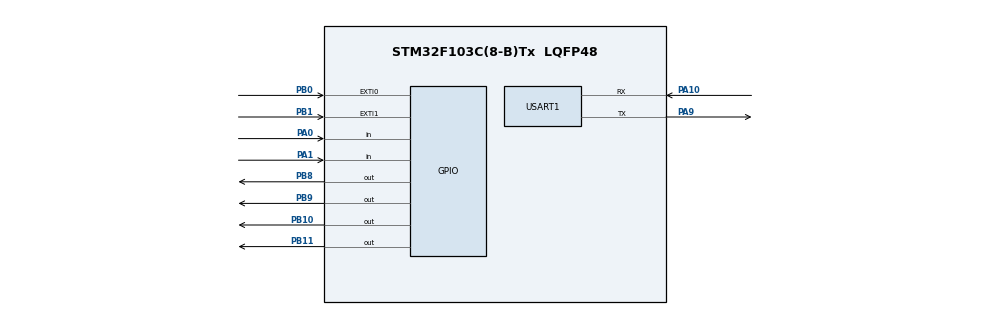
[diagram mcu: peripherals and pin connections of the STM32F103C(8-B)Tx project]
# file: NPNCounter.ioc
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FREERTOS.Tasks01=defaultTask,0,128,StartDefaultTask,Default,NULL,Static,defaultTaskBuffer,defaultTaskControlBlock;seg_display,0,128,StartSegDisplay,Default,NULL,Static,seg_displayBuffer,seg_displayControlBlock;counter_task,-3,128,StartCounterTask,Default,NULL,Static,counter_taskBuffer,counter_taskControlBlock;button_task,3,128,StartButtonTask,Default,NULL,Static,button_taskBuffer,button_taskControlBlock;cmd_line,-3,128,StartCmdLine,Default,NULL,Static,cmd_lineBuffer,cmd_lineControlBlock
Mcu.Family=STM32F1
Mcu.Name=STM32F103C(8-B)Tx
Mcu.Package=LQFP48
NVIC.EXTI0_IRQn=true\:5\:0\:false\:true\:true\:4\:true\:true\:true\:true
NVIC.EXTI1_IRQn=true\:5\:0\:false\:true\:true\:3\:true\:true\:true\:true
NVIC.PriorityGroup=NVIC_PRIORITYGROUP_4
NVIC.TIM1_UP_IRQn=true\:5\:0\:false\:true\:true\:2\:true\:true\:true\:true
NVIC.USART1_IRQn=true\:5\:0\:true\:true\:true\:1\:true\:true\:true\:true
PA0-WKUP.GPIO_PuPd=GPIO_PULLUP
PA0-WKUP.Signal=GPIO_Input
PA1.GPIO_PuPd=GPIO_PULLUP
PA1.Signal=GPIO_Input
PA10.Mode=Asynchronous
PA10.Signal=USART1_RX
PA13.Mode=Serial_Wire
PA13.Signal=SYS_JTMS-SWDIO
PA14.Mode=Serial_Wire
PA14.Signal=SYS_JTCK-SWCLK
PA9.Mode=Asynchronous
PA9.Signal=USART1_TX
PB0.GPIO_PuPd=GPIO_PULLUP
PB0.Signal=GPXTI0
PB1.GPIO_PuPd=GPIO_PULLUP
PB1.Signal=GPXTI1
PB10.GPIO_PuPd=GPIO_PULLUP
PB10.Signal=GPIO_Output
PB11.GPIO_PuPd=GPIO_PULLUP
PB11.Signal=GPIO_Output
PB8.Signal=GPIO_Output
PB9.Signal=GPIO_Output
ProjectManager.HeapSize=0x200
ProjectManager.StackSize=0x400
ProjectManager.TargetToolchain=MDK-ARM V5.32
RCC.APB1Freq_Value=8000000
RCC.APB2Freq_Value=8000000
TIM1.AutoReloadPreload=TIM_AUTORELOAD_PRELOAD_ENABLE
TIM1.Period=1000
TIM1.Prescaler=8000
USART1.VirtualMode=VM_ASYNC
VP_FREERTOS_VS_CMSIS_V1.Mode=CMSIS_V1
VP_TIM1_VS_ClockSourceINT.Mode=Internal
board=custom

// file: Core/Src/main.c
/* USER CODE BEGIN Header */
/**
 ******************************************************************************
 * @file           : main.c
 * @brief          : Main program body
 ******************************************************************************
 * @attention
 *
 * Copyright (c) 2024 STMicroelectronics.
 * All rights reserved.
 *
 * This software is licensed under terms that can be found in the LICENSE file
 * in the root directory of this software component.
 * If no LICENSE file comes with this software, it is provided AS-IS.
 *
 ******************************************************************************
 */
/* USER CODE END Header */
#include "main.h"
#include "cmsis_os.h"
#include "gpio.h"
#include "tim.h"
#include "usart.h"

/* USER CODE BEGIN Includes */
#include <stdio.h>
/* USER CODE END Includes */

void        SystemClock_Config(void);
void        MX_FREERTOS_Init(void);
static void MX_NVIC_Init(void);

/* USER CODE BEGIN 0 */
int fputc(int ch, FILE* f)
{
    HAL_UART_Transmit(&huart1, (uint8_t*)&ch, 1, 0xFFFF);
    return (ch);
}
int fgetc(FILE* f)
{
    int ch;
    while (__HAL_UART_GET_FLAG(&huart1, UART_FLAG_RXNE) == RESET)
        ;
    HAL_UART_Receive(&huart1, (uint8_t*)&ch, 1, 0xFFFF);
    return (ch);
}
/* USER CODE END 0 */

int main(void)
{

    /* USER CODE BEGIN 1 */
    unsigned char hal_uart1_rx;
    /* USER CODE END 1 */

    /* MCU Configuration--------------------------------------------------------*/

    /* Reset of all peripherals, Initializes the Flash interface and the Systick. */
    HAL_Init();

    /* Configure the system clock */
    SystemClock_Config();

    /* Initialize all configured peripherals */
    MX_GPIO_Init();
    MX_USART1_UART_Init();
    MX_TIM1_Init();

    /* Initialize interrupts */
    MX_NVIC_Init();
    /* USER CODE BEGIN 2 */
    // dbg_cmd_init(1);
    HAL_TIM_Base_Start_IT(&htim1);
    printf("task start...\n");
    /* USER CODE END 2 */

    /* Call init function for freertos objects (in cmsis_os2.c) */
    MX_FREERTOS_Init();

    /* Start scheduler */
    osKernelStart();

    /* We should never get here as control is now taken by the scheduler */

    /* Infinite loop */
    while (1)
    {

    }
}

void SystemClock_Config(void)
{
    RCC_OscInitTypeDef RCC_OscInitStruct = { 0 };
    RCC_ClkInitTypeDef RCC_ClkInitStruct = { 0 };

    /** Initializes the RCC Oscillators according to the specified parameters
     * in the RCC_OscInitTypeDef structure.
     */
    RCC_OscInitStruct.OscillatorType      = RCC_OSCILLATORTYPE_HSI;
    RCC_OscInitStruct.HSIState            = RCC_HSI_ON;
    RCC_OscInitStruct.HSICalibrationValue = RCC_HSICALIBRATION_DEFAULT;
    RCC_OscInitStruct.PLL.PLLState        = RCC_PLL_NONE;
    if (HAL_RCC_OscConfig(&RCC_OscInitStruct) != HAL_OK)
    {
        Error_Handler();
    }

    /** Initializes the CPU, AHB and APB buses clocks
     */
    RCC_ClkInitStruct.ClockType      = RCC_CLOCKTYPE_HCLK | RCC_CLOCKTYPE_SYSCLK | RCC_CLOCKTYPE_PCLK1 | RCC_CLOCKTYPE_PCLK2;
    RCC_ClkInitStruct.SYSCLKSource   = RCC_SYSCLKSOURCE_HSI;
    RCC_ClkInitStruct.AHBCLKDivider  = RCC_SYSCLK_DIV1;
    RCC_ClkInitStruct.APB1CLKDivider = RCC_HCLK_DIV1;
    RCC_ClkInitStruct.APB2CLKDivider = RCC_HCLK_DIV1;

    if (HAL_RCC_ClockConfig(&RCC_ClkInitStruct, FLASH_LATENCY_0) != HAL_OK)
    {
        Error_Handler();
    }
}

/**
 * @brief NVIC Configuration.
 * @retval None
 */
static void MX_NVIC_Init(void)
{
    /* USART1_IRQn interrupt configuration */
    HAL_NVIC_SetPriority(USART1_IRQn, 5, 0);
    HAL_NVIC_EnableIRQ(USART1_IRQn);
    /* TIM1_UP_IRQn interrupt configuration */
    HAL_NVIC_SetPriority(TIM1_UP_IRQn, 5, 0);
    HAL_NVIC_EnableIRQ(TIM1_UP_IRQn);
    /* EXTI1_IRQn interrupt configuration */
    HAL_NVIC_SetPriority(EXTI1_IRQn, 5, 0);
    HAL_NVIC_EnableIRQ(EXTI1_IRQn);
    /* EXTI0_IRQn interrupt configuration */
    HAL_NVIC_SetPriority(EXTI0_IRQn, 5, 0);
    HAL_NVIC_EnableIRQ(EXTI0_IRQn);
}

void Error_Handler(void)
{
    __disable_irq();
    while (1)
    {
    }
}

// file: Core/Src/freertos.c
/* USER CODE BEGIN Header */
/**
 ******************************************************************************
 * File Name          : freertos.c
 * Description        : Code for freertos applications
 ******************************************************************************
 * @attention
 *
 * Copyright (c) 2024 STMicroelectronics.
 * All rights reserved.
 *
 * This software is licensed under terms that can be found in the LICENSE file
 * in the root directory of this software component.
 * If no LICENSE file comes with this software, it is provided AS-IS.
 *
 ******************************************************************************
 */
/* USER CODE END Header */

#include "FreeRTOS.h"
#include "task.h"
#include "main.h"
#include "cmsis_os.h"

/* USER CODE BEGIN Includes */
#include "../../User/button.h"
#include "../../User/tm1637.h"

/* USER CODE END Includes */

osThreadId defaultTaskHandle;
uint32_t defaultTaskBuffer[ 128 ];
osStaticThreadDef_t defaultTaskControlBlock;
osThreadId seg_displayHandle;
uint32_t seg_displayBuffer[ 128 ];
osStaticThreadDef_t seg_displayControlBlock;
osThreadId counter_taskHandle;
uint32_t counter_taskBuffer[ 128 ];
osStaticThreadDef_t counter_taskControlBlock;
osThreadId button_taskHandle;
uint32_t button_taskBuffer[ 128 ];
osStaticThreadDef_t button_taskControlBlock;
osThreadId cmd_lineHandle;
uint32_t cmd_lineBuffer[ 128 ];
osStaticThreadDef_t cmd_lineControlBlock;

void StartDefaultTask(void const * argument);
void StartSegDisplay(void const * argument);
void StartCounterTask(void const * argument);
void StartButtonTask(void const * argument);
void StartCmdLine(void const * argument);

void MX_FREERTOS_Init(void); /* (MISRA C 2004 rule 8.1) */

/* GetIdleTaskMemory prototype (linked to static allocation support) */
void vApplicationGetIdleTaskMemory( StaticTask_t **ppxIdleTaskTCBBuffer, StackType_t **ppxIdleTaskStackBuffer, uint32_t *pulIdleTaskStackSize );

/* USER CODE BEGIN GET_IDLE_TASK_MEMORY */
static StaticTask_t xIdleTaskTCBBuffer;
static StackType_t  xIdleStack[configMINIMAL_STACK_SIZE];

void vApplicationGetIdleTaskMemory(StaticTask_t** ppxIdleTaskTCBBuffer, StackType_t** ppxIdleTaskStackBuffer, uint32_t* pulIdleTaskStackSize)
{
    *ppxIdleTaskTCBBuffer   = &xIdleTaskTCBBuffer;
    *ppxIdleTaskStackBuffer = &xIdleStack[0];
    *pulIdleTaskStackSize   = configMINIMAL_STACK_SIZE;
    /* place for user code */
}
/* USER CODE END GET_IDLE_TASK_MEMORY */

void MX_FREERTOS_Init(void) {

  /* Create the thread(s) */
  /* definition and creation of defaultTask */
  osThreadStaticDef(defaultTask, StartDefaultTask, osPriorityNormal, 0, 128, defaultTaskBuffer, &defaultTaskControlBlock);
  defaultTaskHandle = osThreadCreate(osThread(defaultTask), NULL);

  /* definition and creation of seg_display */
  osThreadStaticDef(seg_display, StartSegDisplay, osPriorityNormal, 0, 128, seg_displayBuffer, &seg_displayControlBlock);
  seg_displayHandle = osThreadCreate(osThread(seg_display), NULL);

  /* definition and creation of counter_task */
  osThreadStaticDef(counter_task, StartCounterTask, osPriorityIdle, 0, 128, counter_taskBuffer, &counter_taskControlBlock);
  counter_taskHandle = osThreadCreate(osThread(counter_task), NULL);

  /* definition and creation of button_task */
  osThreadStaticDef(button_task, StartButtonTask, osPriorityRealtime, 0, 128, button_taskBuffer, &button_taskControlBlock);
  button_taskHandle = osThreadCreate(osThread(button_task), NULL);

  /* definition and creation of cmd_line */
  osThreadStaticDef(cmd_line, StartCmdLine, osPriorityIdle, 0, 128, cmd_lineBuffer, &cmd_lineControlBlock);
  cmd_lineHandle = osThreadCreate(osThread(cmd_line), NULL);

}

void StartDefaultTask(void const * argument)
{
  /* USER CODE BEGIN StartDefaultTask */
    /* Infinite loop */
    for (;;)
    {
        osDelay(pdMS_TO_TICKS(1000));
    }
  /* USER CODE END StartDefaultTask */
}

void StartSegDisplay(void const * argument)
{
  /* USER CODE BEGIN StartSegDisplay */
    tm1637_task_init();
    /* Infinite loop */
    for (;;)
    {
        tm1637_task_proceess();
        osDelay(pdMS_TO_TICKS(200));
    }
  /* USER CODE END StartSegDisplay */
}

void StartCounterTask(void const * argument)
{
  /* USER CODE BEGIN StartCounterTask */
    /* Infinite loop */
    for (;;)
    {
				printf("time=%dh:%dm:%ds,coutner=%d,",rtc_display.hour,rtc_display.min,rtc_display.sec,counter_display.cnt);
			if(counter_display.pause_flag == 1)
			{
				printf("Pause\n");
			}
			else if(counter_display.reset_flag == 1)
			{
				printf("Reset\n");
				counter_display.reset_flag = 0;
			}
			else
			{
				printf("Running\n");
			}
        osDelay(pdMS_TO_TICKS(1000));
    }
  /* USER CODE END StartCounterTask */
}

void StartButtonTask(void const * argument)
{
  /* USER CODE BEGIN StartButtonTask */
    /* Infinite loop */
    Button_Attach_ini();
    for (;;)
    {
        Button_Process();
        osDelay(pdMS_TO_TICKS(5));
    }
  /* USER CODE END StartButtonTask */
}

void StartCmdLine(void const * argument)
{
    for (;;)
    {
        osDelay(1);
    }
}

/* USER CODE BEGIN Application */
void pause_button_down_callcak()
{
	if(counter_display.pause_flag == 1)
	{
		counter_display.pause_flag = 0;
	}
	else{
    counter_display.pause_flag = 1;
	}
}
void rst_button_down_callcak()
{
    counter_display.cnt = 0;
	counter_display.pause_flag = 0;
		counter_display.reset_flag = 1;
	        rtc_display.sec_accumulate=0;
			  rtc_display.sec                 = rtc_display.sec_accumulate % 60;
				rtc_display.min                 = rtc_display.sec_accumulate / 60 % 60;
				rtc_display.hour                = rtc_display.sec_accumulate / 60 / 60 % 60;
}
/* USER CODE END Application */
